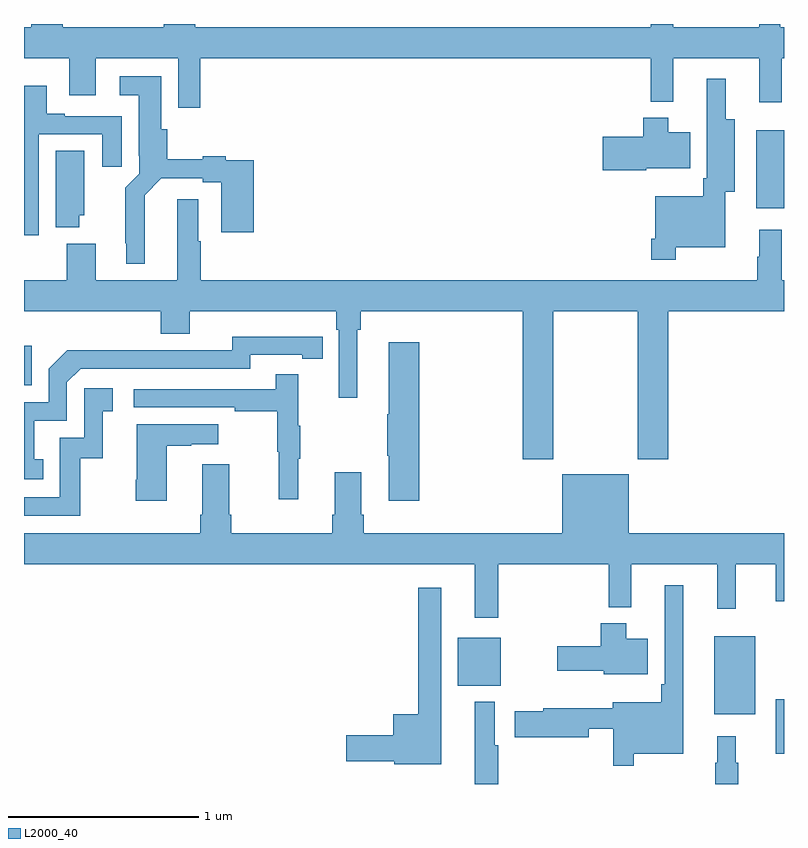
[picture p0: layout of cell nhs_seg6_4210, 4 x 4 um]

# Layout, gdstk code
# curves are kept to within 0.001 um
import gdstk
lib = gdstk.Library(unit=1e-6, precision=1e-09)
def R(c, l, rs):  # rectangles x0, y0, x1, y1
    for r in rs: c.add(gdstk.rectangle(r[:2], r[2:], *l))
def P(c, l, *ps):  # polygons
    for p in ps: c.add(gdstk.Polygon(p, *l))
L2000_40 = (2000, 40)

nhs_seg6_4210 = lib.new_cell('nhs_seg6_4210')
R(nhs_seg6_4210, L2000_40, [(362.957,959.658,363,959.947), (362.633,959.867,362.848,960.277), (361.283,960.017,361.51,960.271), (359,961.599,359.04,961.807), (362.855,962.531,363,962.941)])
P(nhs_seg6_4210, L2000_40, [(359.927,963.32),(362.299,963.32),(362.299,963.092),(362.417,963.092),(362.417,963.32),(362.87,963.32),(362.87,963.087),(362.987,963.087),(362.987,963.32),(363,963.32),(363,963.484),(362.98,963.484),(362.98,963.5),(362.87,963.5),(362.87,963.484),(362.417,963.484),(362.417,963.5),(362.299,963.5),(362.299,963.484),(359.9,963.484),(359.9,963.5),(359.735,963.5),(359.735,963.484),(359.204,963.484),(359.204,963.5),(359.039,963.5),(359.039,963.484),(359,963.484),(359,963.32),(359.237,963.32),(359.237,963.126),(359.377,963.126),(359.377,963.32),(359.811,963.32),(359.811,963.06),(359.927,963.06)],
  [(359.635,962.6),(359.722,962.688),(359.942,962.688),(359.942,962.668),(360.038,962.668),(360.038,962.403),(360.209,962.403),(360.209,962.784),(360.062,962.784),(360.062,962.804),(359.942,962.804),(359.942,962.789),(359.753,962.789),(359.753,962.946),(359.722,962.946),(359.722,963.226),(359.505,963.226),(359.505,963.125),(359.603,963.125),(359.603,962.806),(359.607,962.806),(359.607,962.712),(359.533,962.638),(359.533,962.347),(359.537,962.347),(359.537,962.237),(359.635,962.237)],
  [(362.431,962.324),(362.692,962.324),(362.692,962.618),(362.74,962.618),(362.74,962.998),(362.693,962.998),(362.693,963.211),(362.594,963.211),(362.594,962.689),(362.575,962.689),(362.575,962.593),(362.322,962.593),(362.322,962.371),(362.302,962.371),(362.302,962.259),(362.431,962.259)],
  [(359.077,962.919),(359.411,962.919),(359.411,962.748),(359.515,962.748),(359.515,963.015),(359.215,963.015),(359.215,963.028),(359.119,963.028),(359.119,963.175),(359,963.175),(359,962.388),(359.077,962.388)],
  [(362.274,962.741),(362.506,962.741),(362.506,962.929),(362.392,962.929),(362.392,963.007),(362.258,963.007),(362.258,962.907),(362.046,962.907),(362.046,962.729),(362.274,962.729)],
  [(359.29,962.493),(359.317,962.493),(359.317,962.834),(359.168,962.834),(359.168,962.429),(359.29,962.429)],
  [(361.785,961.988),(362.23,961.988),(362.23,961.209),(362.39,961.209),(362.39,961.988),(363,961.988),(363,962.152),(362.987,962.152),(362.987,962.416),(362.87,962.416),(362.87,962.276),(362.859,962.276),(362.859,962.152),(359.93,962.152),(359.93,962.357),(359.917,962.357),(359.917,962.578),(359.807,962.578),(359.807,962.152),(359.377,962.152),(359.377,962.344),(359.225,962.344),(359.225,962.152),(359,962.152),(359,961.988),(359.72,961.988),(359.72,961.871),(359.872,961.871),(359.872,961.988),(360.644,961.988),(360.644,961.892),(360.657,961.892),(360.657,961.533),(360.754,961.533),(360.754,961.892),(360.773,961.892),(360.773,961.988),(361.625,961.988),(361.625,961.209),(361.785,961.209)],
  [(359.102,961.209),(359.053,961.209),(359.053,961.413),(359.226,961.413),(359.226,961.614),(359.298,961.686),(360.192,961.686),(360.192,961.758),(360.464,961.758),(360.464,961.738),(360.572,961.738),(360.572,961.854),(360.096,961.855),(360.096,961.782),(359.636,961.782),(359.636,961.784),(359.228,961.784),(359.13,961.686),(359.13,961.509),(359,961.509),(359,961.104),(359.102,961.104)],
  [(361.079,961.825),(360.92,961.825),(360.92,961.445),(360.913,961.445),(360.913,961.228),(360.92,961.228),(360.92,960.99),(361.079,960.99)],
  [(360.443,961.211),(360.454,961.211),(360.454,961.385),(360.443,961.385),(360.443,961.657),(360.325,961.657),(360.325,961.578),(359.577,961.578),(359.577,961.482),(360.109,961.482),(360.109,961.462),(360.333,961.462),(360.333,961.248),(360.34,961.248),(360.34,960.999),(360.443,960.999)],
  [(359.296,961.215),(359.414,961.215),(359.414,961.461),(359.467,961.461),(359.467,961.582),(359.316,961.582),(359.316,961.323),(359.187,961.323),(359.187,961.008),(359,961.008),(359,960.912),(359.296,960.912)],
  [(359.752,961.279),(359.879,961.279),(359.879,961.289),(360.022,961.289),(360.022,961.393),(359.594,961.393),(359.594,961.102),(359.587,961.102),(359.587,960.99),(359.752,960.99)],
  [(361.495,960.656),(362.077,960.656),(362.077,960.431),(362.195,960.431),(362.195,960.656),(362.648,960.656),(362.648,960.423),(362.747,960.423),(362.747,960.656),(362.957,960.656),(362.957,960.462),(363,960.462),(363,960.82),(362.182,960.82),(362.182,961.129),(361.832,961.129),(361.832,960.82),(360.788,960.82),(360.788,960.916),(360.775,960.916),(360.775,961.141),(360.635,961.141),(360.635,960.916),(360.623,960.916),(360.623,960.82),(360.092,960.82),(360.092,960.916),(360.079,960.916),(360.079,961.183),(359.939,961.183),(359.939,960.916),(359.927,960.916),(359.927,960.82),(359,960.82),(359,960.656),(361.373,960.656),(361.373,960.375),(361.495,960.375)],
  [(362.209,959.66),(362.47,959.66),(362.47,960.547),(362.373,960.547),(362.373,960.025),(362.353,960.025),(362.353,959.929),(362.099,959.929),(362.099,959.9),(361.733,959.9),(361.733,959.882),(361.584,959.882),(361.584,959.747),(361.972,959.747),(361.972,959.79),(362.1,959.79),(362.1,959.595),(362.209,959.595)],
  [(361.195,960.532),(361.074,960.532),(361.074,959.866),(360.944,959.866),(360.944,959.756),(360.696,959.756),(360.696,959.621),(360.948,959.621),(360.948,959.603),(361.195,959.603)],
  [(362.284,960.265),(362.17,960.265),(362.17,960.346),(362.036,960.346),(362.036,960.225),(361.806,960.225),(361.806,960.095),(362.052,960.095),(362.052,960.077),(362.284,960.077)],
  [(361.495,959.705),(361.477,959.705),(361.477,959.932),(361.373,959.932),(361.373,959.5),(361.495,959.5)],
  [(362.758,959.612),(362.747,959.612),(362.747,959.752),(362.648,959.752),(362.648,959.612),(362.637,959.612),(362.637,959.5),(362.758,959.5)])

lib.write_gds('nhs_seg6_4210.gds')
